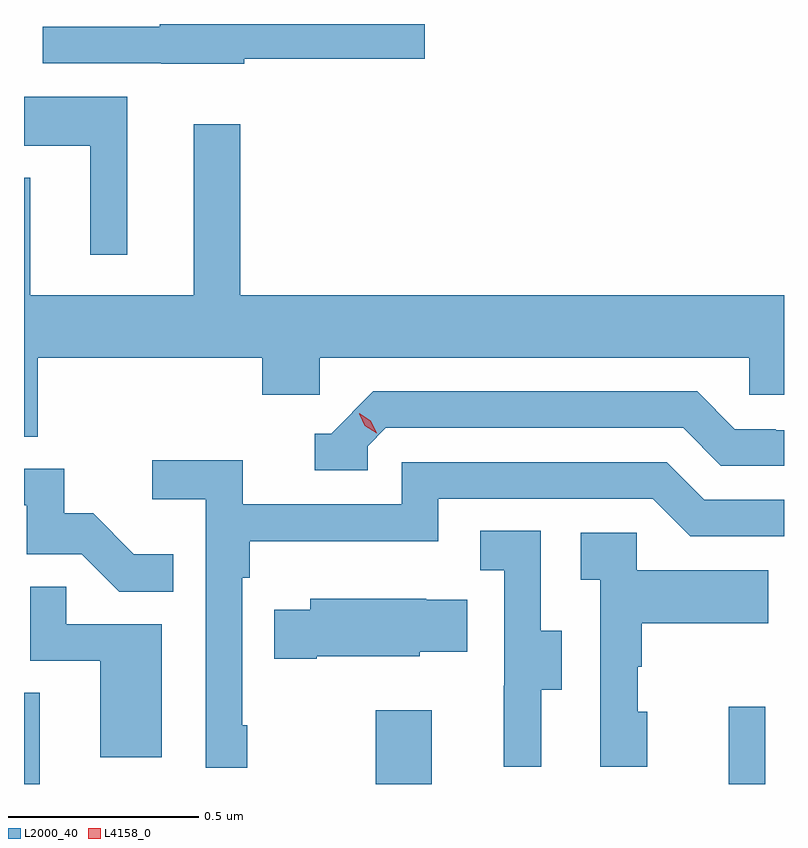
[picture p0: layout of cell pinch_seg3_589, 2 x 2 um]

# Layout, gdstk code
import gdstk
lib = gdstk.Library(unit=1e-6, precision=1e-09)
def R(c, l, rs):  # rectangles x0, y0, x1, y1
    for r in rs: c.add(gdstk.rectangle(r[:2], r[2:], *l))
def P(c, l, *ps):  # polygons
    for p in ps: c.add(gdstk.Polygon(p, *l))
L2000_40 = (2000, 40)
L4158_0 = (4158, 0)

pinch_seg3_589 = lib.new_cell('pinch_seg3_589')
R(pinch_seg3_589, L2000_40, [(1072.436,702.458,1072.477,702.698), (1073.362,702.458,1073.509,702.652), (1074.29,702.458,1074.387,702.661)])
P(pinch_seg3_589, L2000_40, [(1073.016,704.366),(1073.491,704.366),(1073.491,704.458),(1072.793,704.458),(1072.793,704.451),(1072.485,704.451),(1072.485,704.355),(1072.797,704.355),(1072.797,704.354),(1073.016,704.354)],
  [(1072.708,704.266),(1072.436,704.266),(1072.436,704.138),(1072.61,704.138),(1072.61,703.851),(1072.708,703.851)],
  [(1072.472,703.58),(1073.063,703.58),(1073.063,703.482),(1073.214,703.482),(1073.214,703.58),(1074.345,703.58),(1074.345,703.482),(1074.436,703.482),(1074.436,703.744),(1073.005,703.744),(1073.005,704.194),(1072.883,704.194),(1072.883,703.744),(1072.453,703.744),(1072.453,704.053),(1072.436,704.053),(1072.436,703.372),(1072.472,703.372)],
  [(1073.34,703.347),(1073.388,703.395),(1074.171,703.395),(1074.27,703.296),(1074.436,703.296),(1074.436,703.389),(1074.414,703.389),(1074.414,703.392),(1074.307,703.392),(1074.208,703.491),(1073.355,703.491),(1073.244,703.38),(1073.201,703.38),(1073.201,703.284),(1073.34,703.284)],
  [(1073.023,702.613),(1073.01,702.613),(1073.01,703.001),(1073.03,703.001),(1073.03,703.097),(1073.526,703.097),(1073.526,703.209),(1074.09,703.209),(1074.189,703.11),(1074.436,703.11),(1074.436,703.206),(1074.226,703.206),(1074.127,703.305),(1073.43,703.305),(1073.43,703.194),(1073.012,703.194),(1073.012,703.31),(1072.773,703.31),(1072.773,703.208),(1072.914,703.208),(1072.914,702.501),(1073.023,702.501)],
  [(1072.829,703.063),(1072.725,703.063),(1072.618,703.17),(1072.542,703.17),(1072.542,703.287),(1072.436,703.287),(1072.436,703.191),(1072.443,703.191),(1072.443,703.062),(1072.588,703.062),(1072.686,702.964),(1072.829,702.964)],
  [(1073.797,702.706),(1073.851,702.706),(1073.851,702.861),(1073.796,702.861),(1073.796,703.124),(1073.637,703.124),(1073.637,703.021),(1073.7,703.021),(1073.7,702.717),(1073.699,702.717),(1073.699,702.504),(1073.797,702.504)],
  [(1074.076,702.648),(1074.051,702.648),(1074.051,702.767),(1074.061,702.767),(1074.061,702.881),(1074.395,702.881),(1074.395,703.021),(1074.048,703.021),(1074.048,703.119),(1073.901,703.119),(1073.901,702.995),(1073.952,702.995),(1073.952,702.504),(1074.076,702.504)],
  [(1072.798,702.879),(1072.547,702.879),(1072.547,702.977),(1072.452,702.977),(1072.452,702.783),(1072.637,702.783),(1072.637,702.528),(1072.798,702.528)],
  [(1073.206,702.794),(1073.478,702.794),(1073.478,702.806),(1073.603,702.806),(1073.603,702.943),(1073.495,702.943),(1073.495,702.946),(1073.189,702.946),(1073.189,702.916),(1073.095,702.916),(1073.095,702.787),(1073.206,702.787)])
P(pinch_seg3_589, L4158_0, [(1073.364,703.381),(1073.333,703.401),(1073.318,703.433),(1073.318,703.434),(1073.318,703.434),(1073.348,703.414),(1073.364,703.381),(1073.364,703.381)])

lib.write_gds('pinch_seg3_589.gds')
